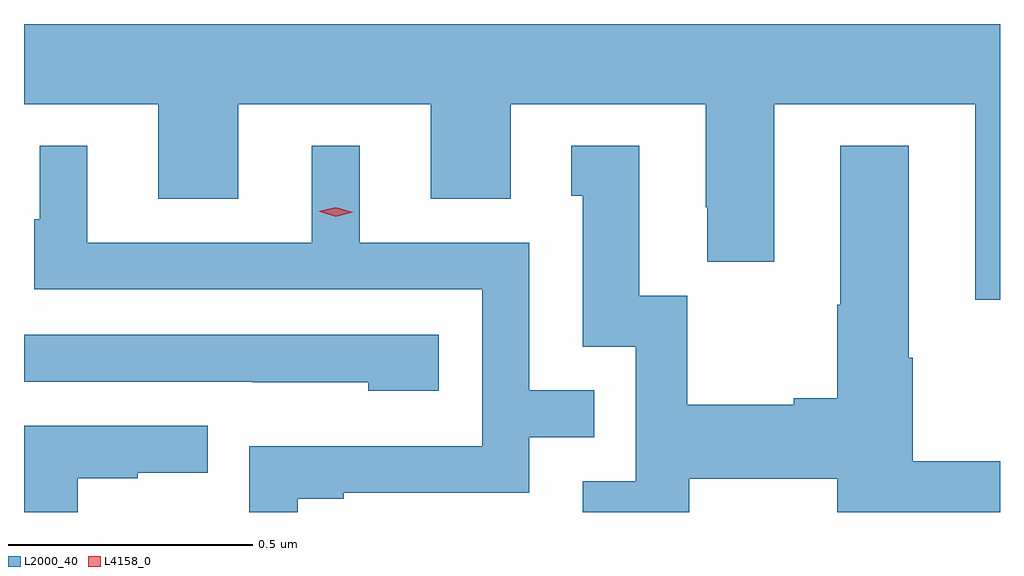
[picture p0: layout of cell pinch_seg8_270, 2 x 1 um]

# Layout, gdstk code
import gdstk
lib = gdstk.Library(unit=1e-6, precision=1e-09)
def P(c, l, *ps):  # polygons
    for p in ps: c.add(gdstk.Polygon(p, *l))
L2000_40 = (2000, 40)
L4158_0 = (4158, 0)

pinch_seg8_270 = lib.new_cell('pinch_seg8_270')
P(pinch_seg8_270, L2000_40, [(496.602,1159.124),(496.877,1159.124),(496.877,1158.93),(497.041,1158.93),(497.041,1159.124),(497.435,1159.124),(497.435,1158.93),(497.599,1158.93),(497.599,1159.124),(497.999,1159.124),(497.999,1158.913),(498.002,1158.913),(498.002,1158.801),(498.139,1158.801),(498.139,1159.124),(498.551,1159.124),(498.551,1158.723),(498.602,1158.723),(498.602,1159.288),(496.602,1159.288)],
  [(497.163,1158.315),(497.257,1158.315),(497.257,1158.327),(497.637,1158.327),(497.637,1158.441),(497.771,1158.441),(497.771,1158.537),(497.637,1158.537),(497.637,1158.84),(497.29,1158.84),(497.29,1159.039),(497.192,1159.039),(497.192,1158.84),(496.732,1158.84),(496.732,1159.039),(496.634,1159.039),(496.634,1158.888),(496.623,1158.888),(496.623,1158.744),(497.541,1158.744),(497.541,1158.423),(497.064,1158.423),(497.064,1158.288),(497.163,1158.288)],
  [(497.965,1158.356),(498.268,1158.356),(498.268,1158.288),(498.602,1158.288),(498.602,1158.392),(498.423,1158.392),(498.423,1158.604),(498.415,1158.604),(498.415,1159.039),(498.275,1159.039),(498.275,1158.713),(498.268,1158.713),(498.268,1158.521),(498.179,1158.521),(498.179,1158.508),(497.961,1158.508),(497.961,1158.731),(497.863,1158.731),(497.863,1159.039),(497.723,1159.039),(497.723,1158.936),(497.747,1158.936),(497.747,1158.627),(497.856,1158.627),(497.856,1158.351),(497.747,1158.351),(497.747,1158.288),(497.965,1158.288)],
  [(497.452,1158.651),(496.602,1158.651),(496.602,1158.555),(497.071,1158.555),(497.071,1158.554),(497.307,1158.554),(497.307,1158.536),(497.452,1158.536)],
  [(496.712,1158.357),(496.835,1158.357),(496.835,1158.368),(496.979,1158.368),(496.979,1158.465),(496.602,1158.465),(496.602,1158.288),(496.712,1158.288)])
P(pinch_seg8_270, L4158_0, [(497.241,1158.893),(497.206,1158.904),(497.205,1158.904),(497.206,1158.904),(497.241,1158.913),(497.276,1158.902),(497.277,1158.902),(497.276,1158.902)])

lib.write_gds('pinch_seg8_270.gds')
